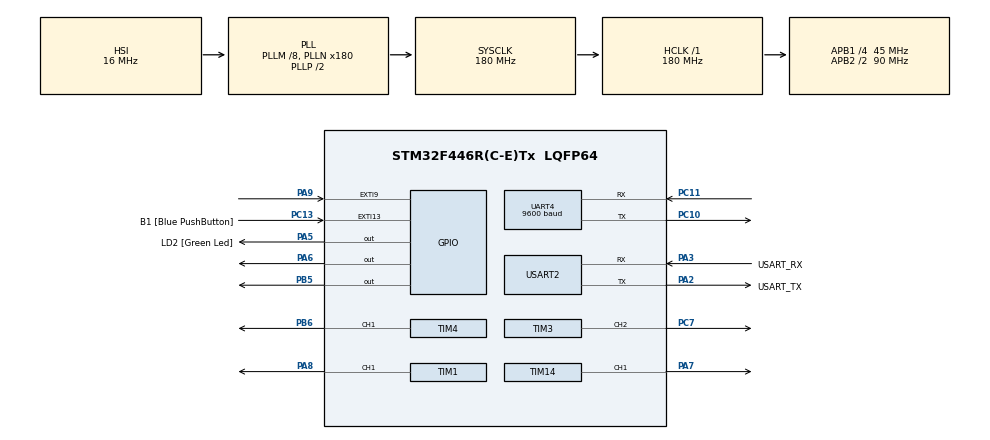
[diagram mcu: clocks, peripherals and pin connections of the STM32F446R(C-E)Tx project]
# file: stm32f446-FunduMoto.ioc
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Mcu.Family=STM32F4
STMicroelectronics.X-CUBE-AI.6.0.0.ModelName-c3b8bf79031fd3b31eb92991228bf3453ce1688b268b720637fa4c43dc12aa66=nnactor
VP_STMicroelectronics.X-CUBE-AI_VS_ArtificialOoIntelligenceJjXAaCUBEAaAI_6.0.0.Mode=ArtificialOoIntelligenceJjXAaCUBEAaAI
PH0-OSC_IN.Signal=RCC_OSC_IN
RCC.CortexFreq_Value=180000000
STMicroelectronics.X-CUBE-AI.6.0.0.MaximumSizeOfInputLayer=AI_NNACTOR_IN_1_SIZE_BYTES
STMicroelectronics.X-CUBE-AI.6.0.0.ModelMacc-c3b8bf79031fd3b31eb92991228bf3453ce1688b268b720637fa4c43dc12aa66=406
NVIC.DMA1_Stream2_IRQn=true\:0\:0\:false\:false\:true\:false\:true
PC10.Signal=UART4_TX
PA14.GPIO_Label=TCK
VP_STMicroelectronics.X-CUBE-AI_VS_DeviceJjApplication_6.0.0.Mode=DeviceJjApplication
STMicroelectronics.X-CUBE-AI.6.0.0.StackSize=0x1000
PC13.GPIO_Label=B1 [Blue PushButton]
RCC.SYSCLKSource=RCC_SYSCLKSOURCE_PLLCLK
ProjectManager.StackSize=0x1000
TIM1.Prescaler=360 - 1
STMicroelectronics.X-CUBE-AI.6.0.0.ModelCompression-c3b8bf79031fd3b31eb92991228bf3453ce1688b268b720637fa4c43dc12aa66=1
SH.S_TIM14_CH1.0=TIM14_CH1,PWM Generation1 CH1
UART4.BaudRate=9600
RCC.HCLKFreq_Value=180000000
RCC.APB2TimFreq_Value=180000000
TIM3.Period=20000 - 1
PB6.Signal=S_TIM4_CH1
STMicroelectronics.X-CUBE-AI.6.0.0.LatestDirectoryUsed-c3b8bf79031fd3b31eb92991228bf3453ce1688b268b720637fa4c43dc12aa66=/home/dizcza/microcontrollers/workspace_1.6.0/stm32f446-FunduMoto/models
PC7.Signal=S_TIM3_CH2
RCC.AHBFreq_Value=180000000
PH0-OSC_IN.Mode=HSE-External-Oscillator
RCC.HSE_VALUE=8000000
TIM14.Period=100 - 1
Dma.UART4_RX.0.MemDataAlignment=DMA_MDATAALIGN_BYTE
PC14-OSC32_IN.Mode=LSE-External-Oscillator
TIM1.Channel-PWM\ Generation1\ CH1=TIM_CHANNEL_1
PA14.Mode=Serial_Wire
STMicroelectronics.X-CUBE-AI.6.0.0.XAaCUBEAaAICcArtificialOoIntelligenceJjCore=true
TIM3.Prescaler=90 - 1
PA8.Signal=S_TIM1_CH1
STMicroelectronics.X-CUBE-AI.6.0.0.ModelFlashOccupation-c3b8bf79031fd3b31eb92991228bf3453ce1688b268b720637fa4c43dc12aa66=1288
Dma.UART4_RX.0.PeriphDataAlignment=DMA_PDATAALIGN_BYTE
TIM4.Period=100 - 1
RCC.FLatency-AdvancedSettings=FLASH_LATENCY_5
PH1-OSC_OUT.Mode=HSE-External-Oscillator
Mcu.Package=LQFP64
PA6.Signal=GPIO_Output
USART2.VirtualMode=VM_ASYNC
PA2.GPIO_Label=USART_TX
STMicroelectronics.X-CUBE-AI.6.0.0.ModelActualCompression-c3b8bf79031fd3b31eb92991228bf3453ce1688b268b720637fa4c43dc12aa66=0.0
PC11.Mode=Asynchronous
STMicroelectronics.X-CUBE-AI.6.0.0.ModelStructureFile-c3b8bf79031fd3b31eb92991228bf3453ce1688b268b720637fa4c43dc12aa66=models/ddpg_UltrasonicServo-v0.h5
RCC.APB2CLKDivider=RCC_HCLK_DIV2
SH.S_TIM4_CH1.0=TIM4_CH1,PWM Generation1 CH1
RCC.APB1TimFreq_Value=90000000
TIM1.Period=50000 - 1
VP_TIM14_VS_ClockSourceINT.Mode=Enable_Timer
STMicroelectronics.X-CUBE-AI.6.0.0.ModelRamOccupation-c3b8bf79031fd3b31eb92991228bf3453ce1688b268b720637fa4c43dc12aa66=280
Dma.Request0=UART4_RX
PA3.Signal=USART2_RX
NVIC.UART4_IRQn=true\:0\:0\:false\:false\:true\:true\:true
PB3.GPIO_Label=SWO
Dma.UART4_RX.0.MemInc=DMA_MINC_ENABLE
TIM4.Channel-PWM\ Generation1\ CH1=TIM_CHANNEL_1
PC15-OSC32_OUT.Mode=LSE-External-Oscillator
STMicroelectronics.X-CUBE-AI.6.0.0.ModelKind-c3b8bf79031fd3b31eb92991228bf3453ce1688b268b720637fa4c43dc12aa66=KERAS
PC13.Signal=GPXTI13
PC11.Signal=UART4_RX
Dma.UART4_RX.0.Mode=DMA_CIRCULAR
STMicroelectronics.X-CUBE-AI.6.0.0.MaximumSizeOfOutputLayer=AI_NNACTOR_OUT_1_SIZE_BYTES
PC10.Mode=Asynchronous
RCC.APB1CLKDivider=RCC_HCLK_DIV4
UART4.VirtualMode=Asynchronous
PC14-OSC32_IN.Signal=RCC_OSC32_IN
PA9.GPIO_PuPd=GPIO_PULLDOWN
PA3.Mode=Asynchronous
PA13.Signal=SYS_JTMS-SWDIO
STMicroelectronics.X-CUBE-AI.6.0.0.ModelHashList=c3b8bf79031fd3b31eb92991228bf3453ce1688b268b720637fa4c43dc12aa66
SH.S_TIM1_CH1.0=TIM1_CH1,PWM Generation1 CH1
Dma.UART4_RX.0.Direction=DMA_PERIPH_TO_MEMORY
ProjectManager.TargetToolchain=STM32CubeIDE
STMicroelectronics.X-CUBE-AI.6.0.0.InternalRamActivationBufferMaxSize=AI_NNACTOR_DATA_ACTIVATIONS_SIZE
PA9.Signal=GPXTI9
STMicroelectronics.X-CUBE-AI.6.0.0.WorkingBufferStartAddrList=0xFFFFFFFF
STMicroelectronics.X-CUBE-AI.6.0.0.ModelNameList=nnactor
RCC.USBFreq_Value=180000000
Dma.UART4_RX.0.PeriphInc=DMA_PINC_DISABLE
STMicroelectronics.X-CUBE-AI.6.0.0.MaximumNumberOfOutputLayer=1
TIM4.Prescaler=45000 - 1
PC15-OSC32_OUT.Signal=RCC_OSC32_OUT
PA5.Signal=GPIO_Output
SH.S_TIM3_CH2.0=TIM3_CH2,PWM Generation2 CH2
board=NUCLEO-F446RE
RCC.VCOOutputFreq_Value=360000000
Dma.UART4_RX.0.FIFOMode=DMA_FIFOMODE_DISABLE
NVIC.TIM3_IRQn=true\:0\:0\:false\:false\:true\:true\:true
Dma.UART4_RX.0.Priority=DMA_PRIORITY_LOW
RCC.APB2Freq_Value=90000000
TIM14.Channel=TIM_CHANNEL_1
PH1-OSC_OUT.Signal=RCC_OSC_OUT
PA13.Mode=Serial_Wire
STMicroelectronics.X-CUBE-AI.6.0.0.ApplicationCcDeviceJjApplication=ApplicationTemplate
Mcu.Name=STM32F446R(C-E)Tx
TIM14.Prescaler=45000 - 1
PA2.Signal=USART2_TX
PA13.GPIO_Label=TMS
RCC.48MHZClocksFreq_Value=84000000
PB3.Signal=SYS_JTDO-SWO
RCC.SYSCLKFreq_VALUE=180000000
PB5.Signal=GPIO_Output
PA5.GPIO_Label=LD2 [Green Led]
PC13.GPIO_ModeDefaultEXTI=GPIO_MODE_IT_FALLING
NVIC.EXTI9_5_IRQn=true\:0\:0\:false\:false\:true\:true\:true
PA14.Signal=SYS_JTCK-SWCLK
STMicroelectronics.X-CUBE-AI.6.0.0.MaximumNumberOfInputLayer=1
ProjectManager.HeapSize=0x200
STMicroelectronics.X-CUBE-AI.6.0.0.HeapSize=0x200
RCC.HSI_VALUE=16000000
STMicroelectronics.X-CUBE-AI.6.0.0.ModelType-c3b8bf79031fd3b31eb92991228bf3453ce1688b268b720637fa4c43dc12aa66=Saved model
NVIC.PriorityGroup=NVIC_PRIORITYGROUP_0
TIM3.Channel-PWM\ Generation2\ CH2=TIM_CHANNEL_2
RCC.PLLM=8
RCC.PLLN=180
PA9.GPIO_ModeDefaultEXTI=GPIO_MODE_IT_RISING_FALLING
Dma.UART4_RX.0.Instance=DMA1_Stream2
PA2.Mode=Asynchronous
NVIC.TIM4_IRQn=true\:0\:0\:false\:false\:true\:true\:true
RCC.APB1Freq_Value=45000000
VP_CRC_VS_CRC.Mode=CRC_Activate
STMicroelectronics.X-CUBE-AI.6.0.0.ActivationBufferSizeList=280
PA3.GPIO_Label=USART_RX
PA7.Signal=S_TIM14_CH1

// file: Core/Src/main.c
/* USER CODE BEGIN Header */
/**
  ******************************************************************************
  * @file           : main.c
  * @brief          : Main program body
  ******************************************************************************
  * @attention
  *
  * <h2><center>&copy; Copyright (c) 2019 STMicroelectronics.
  * All rights reserved.</center></h2>
  *
  * This software component is licensed by ST under BSD 3-Clause license,
  * the "License"; You may not use this file except in compliance with the
  * License. You may obtain a copy of the License at:
  *                        opensource.org/licenses/BSD-3-Clause
  *
  ******************************************************************************
  */
/* USER CODE END Header */
#include "main.h"
#include "crc.h"
#include "dma.h"
#include "tim.h"
#include "usart.h"
#include "gpio.h"

/* USER CODE BEGIN Includes */
#include "fundumoto.h"
#include "test_gym.h"
/* USER CODE END Includes */

void SystemClock_Config(void);

int main(void)
{

  /* MCU Configuration--------------------------------------------------------*/

  /* Reset of all peripherals, Initializes the Flash interface and the Systick. */
  HAL_Init();

  /* Configure the system clock */
  SystemClock_Config();

  /* Initialize all configured peripherals */
  MX_GPIO_Init();
  MX_DMA_Init();
  MX_USART2_UART_Init();
  MX_TIM4_Init();
  MX_TIM3_Init();
  MX_UART4_Init();
  MX_TIM1_Init();
  MX_TIM14_Init();
  MX_CRC_Init();
  /* USER CODE BEGIN 2 */
  FunduMoto_Init();

  ai_error err = Gym_InitNetwork();
  assert_param(err.code == AI_ERROR_CODE_NONE);
  Gym_LogNetworkInfo();

  Test_GymInfer();
  /* USER CODE END 2 */

  /* Infinite loop */
  /* USER CODE BEGIN WHILE */
  while (1)
  {
	  FunduMoto_ReadUART();
	  FunduMoto_Update();

    /* USER CODE END WHILE */

  }
}

void SystemClock_Config(void)
{
  RCC_OscInitTypeDef RCC_OscInitStruct = {0};
  RCC_ClkInitTypeDef RCC_ClkInitStruct = {0};

  /** Configure the main internal regulator output voltage
  */
  __HAL_RCC_PWR_CLK_ENABLE();
  __HAL_PWR_VOLTAGESCALING_CONFIG(PWR_REGULATOR_VOLTAGE_SCALE1);
  /** Initializes the RCC Oscillators according to the specified parameters
  * in the RCC_OscInitTypeDef structure.
  */
  RCC_OscInitStruct.OscillatorType = RCC_OSCILLATORTYPE_HSI;
  RCC_OscInitStruct.HSIState = RCC_HSI_ON;
  RCC_OscInitStruct.HSICalibrationValue = RCC_HSICALIBRATION_DEFAULT;
  RCC_OscInitStruct.PLL.PLLState = RCC_PLL_ON;
  RCC_OscInitStruct.PLL.PLLSource = RCC_PLLSOURCE_HSI;
  RCC_OscInitStruct.PLL.PLLM = 8;
  RCC_OscInitStruct.PLL.PLLN = 180;
  RCC_OscInitStruct.PLL.PLLP = RCC_PLLP_DIV2;
  RCC_OscInitStruct.PLL.PLLQ = 2;
  RCC_OscInitStruct.PLL.PLLR = 2;
  if (HAL_RCC_OscConfig(&RCC_OscInitStruct) != HAL_OK)
  {
    Error_Handler();
  }
  /** Activate the Over-Drive mode
  */
  if (HAL_PWREx_EnableOverDrive() != HAL_OK)
  {
    Error_Handler();
  }
  /** Initializes the CPU, AHB and APB buses clocks
  */
  RCC_ClkInitStruct.ClockType = RCC_CLOCKTYPE_HCLK|RCC_CLOCKTYPE_SYSCLK
                              |RCC_CLOCKTYPE_PCLK1|RCC_CLOCKTYPE_PCLK2;
  RCC_ClkInitStruct.SYSCLKSource = RCC_SYSCLKSOURCE_PLLCLK;
  RCC_ClkInitStruct.AHBCLKDivider = RCC_SYSCLK_DIV1;
  RCC_ClkInitStruct.APB1CLKDivider = RCC_HCLK_DIV4;
  RCC_ClkInitStruct.APB2CLKDivider = RCC_HCLK_DIV2;

  if (HAL_RCC_ClockConfig(&RCC_ClkInitStruct, FLASH_LATENCY_5) != HAL_OK)
  {
    Error_Handler();
  }
}

void Error_Handler(void)
{
  /* USER CODE BEGIN Error_Handler_Debug */
  /* User can add his own implementation to report the HAL error return state */
	HAL_GPIO_WritePin(GPIOA, GPIO_PIN_5, GPIO_PIN_SET);
	while (1) {
		FunduMoto_Beep(GPIO_PIN_SET);
		HAL_Delay(10);
		FunduMoto_Beep(GPIO_PIN_RESET);
		HAL_Delay(990);
	}
  /* USER CODE END Error_Handler_Debug */
}

#ifdef  USE_FULL_ASSERT
/**
  * @brief  Reports the name of the source file and the source line number
  *         where the assert_param error has occurred.
  * @param  file: pointer to the source file name
  * @param  line: assert_param error line source number
  * @retval None
  */
void assert_failed(uint8_t *file, uint32_t line)
{
  /* USER CODE BEGIN 6 */
  /* User can add his own implementation to report the file name and line number,
     tex: printf("Wrong parameters value: file %s on line %d\r\n", file, line) */
	Error_Handler();
  /* USER CODE END 6 */
}
#endif /* USE_FULL_ASSERT */

/************************ (C) COPYRIGHT STMicroelectronics *****END OF FILE****/
